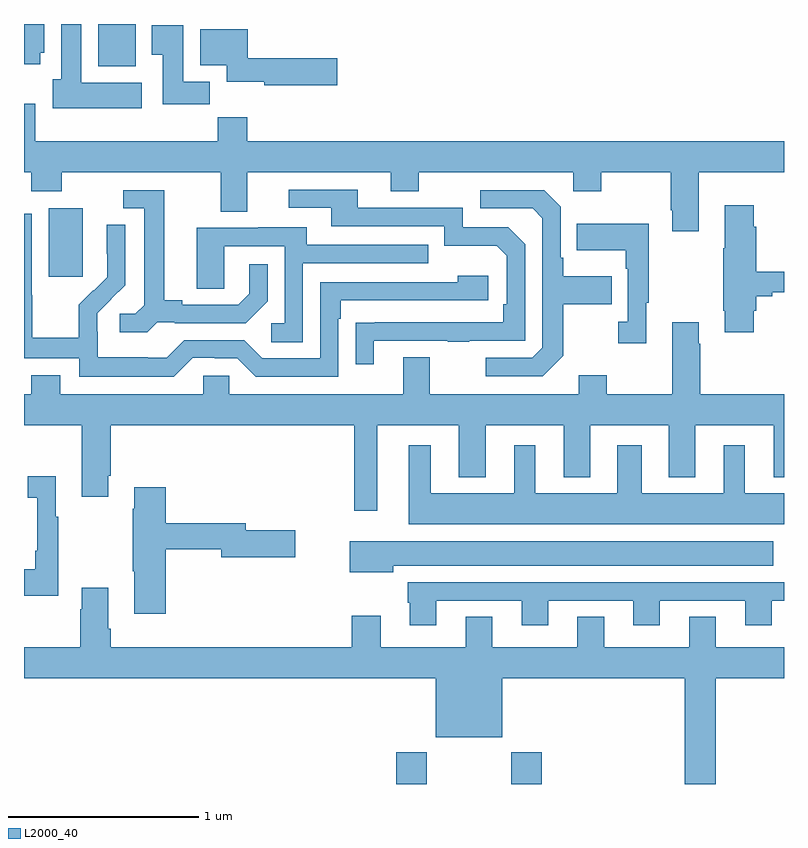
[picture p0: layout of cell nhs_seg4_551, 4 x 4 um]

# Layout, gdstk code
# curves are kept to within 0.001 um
import gdstk
lib = gdstk.Library(unit=1e-6, precision=1e-09)
def R(c, l, rs):  # rectangles x0, y0, x1, y1
    for r in rs: c.add(gdstk.rectangle(r[:2], r[2:], *l))
def P(c, l, *ps):  # polygons
    for p in ps: c.add(gdstk.Polygon(p, *l))
L2000_40 = (2000, 40)

nhs_seg4_551 = lib.new_cell('nhs_seg4_551')
R(nhs_seg4_551, L2000_40, [(138.959,826.9,139.119,827.068), (139.564,826.9,139.724,827.068), (137.129,829.569,137.308,829.93), (137.39,830.678,137.587,830.9)])
P(nhs_seg4_551, L2000_40, [(137.62,830.59),(137.302,830.59),(137.302,830.9),(137.195,830.9),(137.195,830.61),(137.15,830.61),(137.15,830.456),(137.62,830.456)],
  [(137.086,830.748),(137.107,830.748),(137.107,830.9),(137,830.9),(137,830.688),(137.086,830.688)],
  [(137.978,830.596),(137.839,830.596),(137.839,830.893),(137.672,830.893),(137.672,830.737),(137.729,830.737),(137.729,830.478),(137.978,830.478)],
  [(138.649,830.72),(138.178,830.72),(138.178,830.872),(137.927,830.872),(137.927,830.684),(138.068,830.684),(138.068,830.597),(138.264,830.597),(138.264,830.578),(138.649,830.578)],
  [(140.551,830.12),(141,830.12),(141,830.284),(138.176,830.284),(138.176,830.408),(138.019,830.408),(138.019,830.284),(137.059,830.284),(137.059,830.479),(137,830.479),(137,830.12),(137.039,830.12),(137.039,830.021),(137.199,830.021),(137.199,830.12),(138.035,830.12),(138.035,829.912),(138.175,829.912),(138.175,830.12),(138.929,830.12),(138.929,830.021),(139.077,830.021),(139.077,830.12),(139.89,830.12),(139.89,830.021),(140.037,830.021),(140.037,830.12),(140.404,830.12),(140.404,829.921),(140.411,829.921),(140.411,829.809),(140.551,829.809)],
  [(138.841,829.233),(139.231,829.233),(139.231,829.228),(139.343,829.228),(139.343,829.233),(139.638,829.233),(139.638,829.74),(139.548,829.83),(139.308,829.83),(139.308,829.932),(138.757,829.932),(138.757,830.028),(138.393,830.028),(138.393,829.932),(138.617,829.932),(138.617,829.836),(139.212,829.836),(139.212,829.733),(139.489,829.733),(139.542,829.68),(139.542,829.426),(139.522,829.426),(139.522,829.329),(138.745,829.328),(138.745,829.11),(138.841,829.11)],
  [(137.7,829.329),(137.794,829.329),(137.794,829.326),(138.166,829.326),(138.282,829.442),(138.282,829.636),(138.185,829.636),(138.185,829.479),(138.128,829.422),(137.833,829.422),(137.833,829.445),(137.737,829.445),(137.737,830.025),(137.523,830.025),(137.523,829.929),(137.633,829.929),(137.633,829.421),(137.586,829.374),(137.505,829.374),(137.505,829.277),(137.648,829.277)],
  [(139.837,829.153),(139.837,829.426),(140.093,829.426),(140.093,829.573),(139.837,829.573),(139.837,829.669),(139.824,829.669),(139.824,829.938),(139.737,830.025),(139.401,830.025),(139.401,829.929),(139.677,829.929),(139.728,829.878),(139.728,829.197),(139.674,829.143),(139.431,829.143),(139.431,829.047),(139.731,829.047)],
  [(140.842,829.391),(140.855,829.391),(140.855,829.468),(140.938,829.468),(140.938,829.487),(141,829.487),(141,829.597),(140.855,829.597),(140.855,829.832),(140.842,829.832),(140.842,829.945),(140.687,829.945),(140.687,829.721),(140.68,829.721),(140.68,829.39),(140.687,829.39),(140.687,829.278),(140.842,829.278)],
  [(137.889,829.143),(138.005,829.143),(138.005,829.14),(138.123,829.14),(138.219,829.044),(138.654,829.044),(138.654,829.349),(138.667,829.349),(138.667,829.446),(139.444,829.446),(139.444,829.576),(139.283,829.576),(139.283,829.542),(138.558,829.542),(138.558,829.14),(138.255,829.14),(138.159,829.236),(137.844,829.236),(137.751,829.143),(137.651,829.143),(137.651,829.147),(137.388,829.147),(137.388,829.281),(137.386,829.281),(137.386,829.378),(137.532,829.526),(137.532,829.844),(137.436,829.844),(137.436,829.69),(137.438,829.69),(137.438,829.568),(137.367,829.497),(137.364,829.5),(137.287,829.423),(137.287,829.249),(137.043,829.249),(137.043,829.472),(137.04,829.472),(137.04,829.902),(137,829.902),(137,829.14),(137.292,829.14),(137.292,829.043),(137.789,829.043)],
  [(140.275,829.433),(140.287,829.433),(140.287,829.849),(139.909,829.849),(139.909,829.709),(140.166,829.709),(140.166,829.613),(140.178,829.613),(140.178,829.334),(140.127,829.334),(140.127,829.221),(140.275,829.221)],
  [(138.468,829.641),(139.127,829.641),(139.127,829.737),(138.487,829.737),(138.487,829.831),(138.233,829.831),(138.233,829.827),(137.909,829.827),(137.909,829.507),(138.054,829.507),(138.054,829.731),(138.372,829.731),(138.372,829.326),(138.3,829.326),(138.3,829.225),(138.468,829.225)],
  [(138.859,828.788),(139.289,828.788),(139.289,828.515),(139.429,828.515),(139.429,828.788),(139.841,828.788),(139.841,828.515),(139.981,828.515),(139.981,828.788),(140.393,828.788),(140.393,828.515),(140.533,828.515),(140.533,828.788),(140.945,828.788),(140.945,828.515),(141,828.515),(141,828.952),(140.559,828.952),(140.559,829.217),(140.551,829.217),(140.551,829.33),(140.411,829.33),(140.411,828.952),(140.067,828.952),(140.067,829.051),(139.919,829.051),(139.919,828.952),(139.135,828.952),(139.135,829.147),(138.995,829.147),(138.995,828.952),(138.081,828.952),(138.081,829.05),(137.943,829.05),(137.943,828.952),(137.191,828.952),(137.191,829.051),(137.039,829.051),(137.039,828.952),(137,828.952),(137,828.788),(137.303,828.788),(137.303,828.411),(137.443,828.411),(137.443,828.523),(137.456,828.523),(137.456,828.788),(138.738,828.788),(138.738,828.339),(138.859,828.339)],
  [(141,828.43),(140.794,828.43),(140.794,828.682),(140.684,828.682),(140.684,828.43),(140.251,828.43),(140.251,828.682),(140.123,828.682),(140.123,828.43),(139.69,828.43),(139.69,828.682),(139.58,828.682),(139.58,828.43),(139.141,828.43),(139.141,828.682),(139.025,828.682),(139.025,828.266),(141,828.266)],
  [(137.179,828.307),(137.167,828.307),(137.167,828.52),(137.019,828.52),(137.019,828.407),(137.07,828.407),(137.07,828.127),(137.058,828.127),(137.058,828.031),(137,828.031),(137,827.891),(137.179,827.891)],
  [(137.747,828.136),(138.038,828.136),(138.038,828.094),(138.427,828.094),(138.427,828.236),(138.166,828.236),(138.166,828.272),(137.747,828.272),(137.747,828.463),(137.579,828.463),(137.579,828.35),(137.572,828.35),(137.572,828.019),(137.579,828.019),(137.579,827.796),(137.747,827.796)],
  [(138.943,828.05),(140.944,828.05),(140.944,828.178),(138.714,828.178),(138.714,828.014),(138.943,828.014)],
  [(139.171,827.865),(139.619,827.865),(139.619,827.736),(139.759,827.736),(139.759,827.865),(140.207,827.865),(140.207,827.736),(140.347,827.736),(140.347,827.865),(140.795,827.865),(140.795,827.736),(140.935,827.736),(140.935,827.865),(141,827.865),(141,827.961),(139.019,827.961),(139.019,827.853),(139.031,827.853),(139.031,827.736),(139.171,827.736)],
  [(140.641,827.456),(141,827.456),(141,827.62),(140.641,827.62),(140.641,827.78),(140.501,827.78),(140.501,827.62),(140.053,827.62),(140.053,827.78),(139.913,827.78),(139.913,827.62),(139.465,827.62),(139.465,827.78),(139.325,827.78),(139.325,827.62),(138.877,827.62),(138.877,827.785),(138.725,827.785),(138.725,827.62),(137.456,827.62),(137.456,827.716),(137.443,827.716),(137.443,827.932),(137.303,827.932),(137.303,827.819),(137.296,827.819),(137.296,827.62),(137,827.62),(137,827.456),(139.166,827.456),(139.166,827.147),(139.516,827.147),(139.516,827.456),(140.477,827.456),(140.477,826.9),(140.641,826.9)])

lib.write_gds('nhs_seg4_551.gds')
